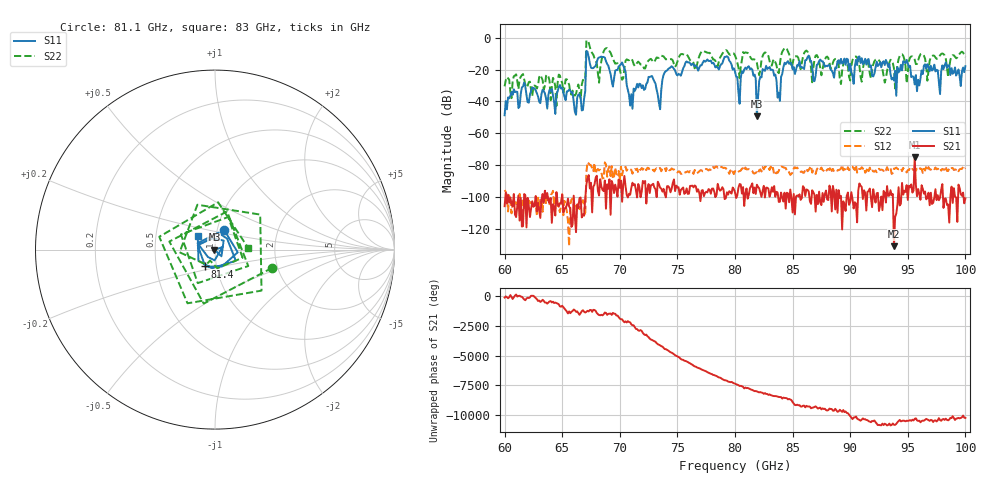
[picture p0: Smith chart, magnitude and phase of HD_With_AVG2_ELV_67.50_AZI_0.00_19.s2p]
! 11/25/2026 10:19:24 AM
! C:\ANRITSUVNA\TEMP\TEMP.S2P
! CHANNEL.1
! TR.MEASUREMENT
! RAW.DATA
# HZ S RI R 50.0
! FREQ.HZ  S11RE  S11IM  S21RE  S21IM  S12RE  S12IM  S22RE  S22IM
!; PortSelection: Port_12
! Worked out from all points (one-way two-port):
!   401 points, 60 GHz to 100 GHz, reference 50 ohm
!   highest |S21| = -75.01 dB at 95.6 GHz (marker M1); lowest = -131.0 dB at 93.8 GHz (marker M2)
!   lowest |S11| = -49.4 dB at 81.9 GHz (marker M3), VSWR 1.01, Z = 49.7 + j0.0173 ohm
!   |S11| at or under -10 dB: start of sweep to 67.09 GHz; 67.23 GHz to end of sweep
!   |S22| runs from -42.8 to -1.7 dB; largest |S21 - S12| = 0.00018
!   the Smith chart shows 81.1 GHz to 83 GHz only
!   S11 on the Smith chart (normalised r, x): 81.1 GHz: 1.08, +0.24; 81.4 GHz: 0.88, -0.17; 83 GHz: 0.82, +0.12
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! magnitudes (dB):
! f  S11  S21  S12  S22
! 60 GHz  -48.7  -105.9  -95.7  -30.5
! 61.6 GHz  -30.6  -118.4  -102.2  -22.8
! 66.7 GHz  -45.7  -112.9  -103.6  -29.5
! 67.3 GHz  -12.1  -86.3  -79.0  -3.2
! 68.4 GHz  -11.8  -93.5  -84.6  -14.7
! 70.3 GHz  -17.5  -92.3  -82.4  -25.5
! 70.9 GHz  -42.6  -98.7  -82.6  -13.5
! 72.7 GHz  -24.4  -92.7  -83.0  -13.3
! 73.4 GHz  -41.0  -92.0  -82.1  -12.6
! 74.4 GHz  -18.6  -97.1  -83.1  -13.4
! 80 GHz  -21.2  -97.2  -83.8  -11.1
! 81.1 GHz  -18.4  -101.1  -82.6  -9.5
! 81.4 GHz  -19.3  -93.1  -83.2  -13.0
! 81.9 GHz  -49.4  -92.4  -84.5  -15.9
! 83 GHz  -18.4  -99.8  -83.1  -14.6
! 83.8 GHz  -34.5  -103.2  -83.7  -22.3
! 84.5 GHz  -15.5  -97.4  -83.4  -7.0
! 86.7 GHz  -17.6  -95.9  -84.7  -28.0
! 93.4 GHz  -16.3  -99.2  -82.1  -15.6
! 93.8 GHz  -26.9  -131.0  -82.2  -19.3
! 95.6 GHz  -29.3  -75.0  -83.2  -13.7
! 100 GHz  -17.9  -100.9  -81.9  -12.1
